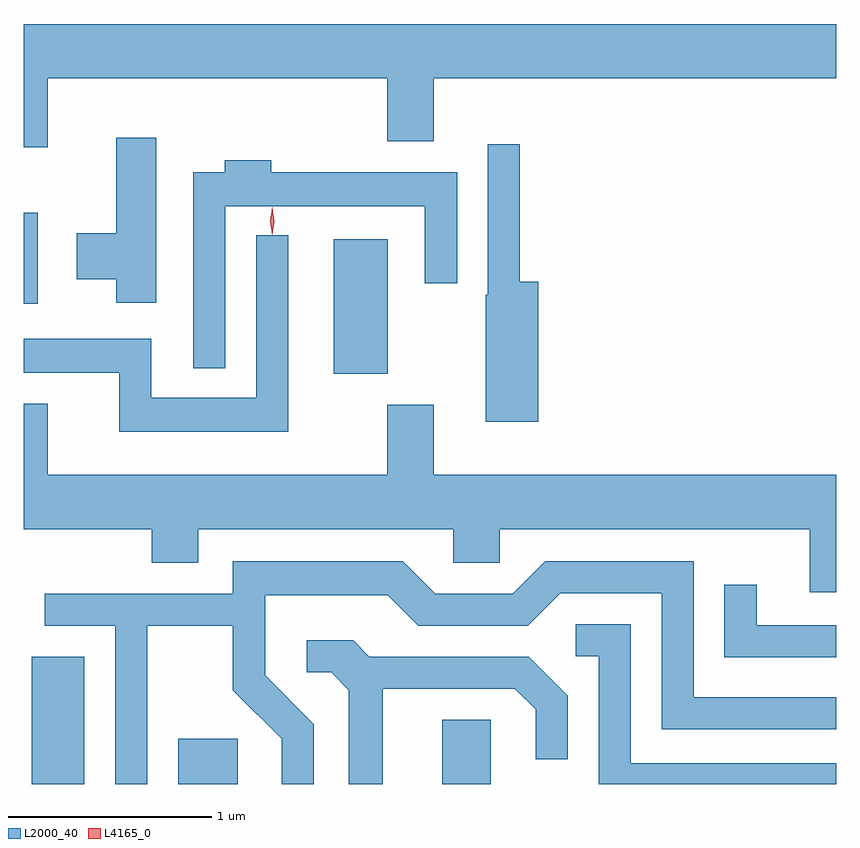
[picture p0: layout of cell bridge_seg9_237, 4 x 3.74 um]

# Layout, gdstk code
import gdstk
lib = gdstk.Library(unit=1e-6, precision=1e-09)
def R(c, l, rs):  # rectangles x0, y0, x1, y1
    for r in rs: c.add(gdstk.rectangle(r[:2], r[2:], *l))
def P(c, l, *ps):  # polygons
    for p in ps: c.add(gdstk.Polygon(p, *l))
L2000_40 = (2000, 40)
L4165_0 = (4165, 0)

bridge_seg9_237 = lib.new_cell('bridge_seg9_237')
R(bridge_seg9_237, L2000_40, [(1468.811,1948.382,1469.069,1949.009), (1469.531,1948.382,1469.824,1948.604), (1470.831,1948.382,1471.069,1948.699), (1470.296,1950.401,1470.564,1951.064), (1468.771,1950.746,1468.839,1951.194)])
P(bridge_seg9_237, L2000_40, [(1468.889,1951.856),(1470.561,1951.856),(1470.561,1951.546),(1470.789,1951.546),(1470.789,1951.856),(1472.771,1951.856),(1472.771,1952.124),(1468.771,1952.124),(1468.771,1951.516),(1468.889,1951.516)],
  [(1469.424,1951.564),(1469.226,1951.564),(1469.226,1951.094),(1469.031,1951.094),(1469.031,1950.866),(1469.226,1950.866),(1469.226,1950.751),(1469.424,1950.751)],
  [(1471.304,1950.854),(1471.214,1950.854),(1471.214,1951.533),(1471.056,1951.533),(1471.056,1950.79),(1471.046,1950.79),(1471.046,1950.166),(1471.304,1950.166)],
  [(1469.764,1951.226),(1470.746,1951.226),(1470.746,1950.848),(1470.904,1950.848),(1470.904,1951.394),(1469.989,1951.394),(1469.989,1951.454),(1469.761,1951.454),(1469.761,1951.394),(1469.606,1951.394),(1469.606,1950.428),(1469.764,1950.428)],
  [(1470.074,1951.083),(1469.916,1951.083),(1469.916,1950.284),(1469.399,1950.284),(1469.399,1950.574),(1468.771,1950.574),(1468.771,1950.406),(1469.241,1950.406),(1469.241,1950.116),(1470.074,1950.116)],
  [(1472.771,1949.904),(1470.789,1949.904),(1470.789,1950.249),(1470.561,1950.249),(1470.561,1949.904),(1468.889,1949.904),(1468.889,1950.254),(1468.771,1950.254),(1468.771,1949.636),(1469.401,1949.636),(1469.401,1949.471),(1469.629,1949.471),(1469.629,1949.636),(1470.886,1949.636),(1470.886,1949.471),(1471.114,1949.471),(1471.114,1949.636),(1472.641,1949.636),(1472.641,1949.326),(1472.771,1949.326)],
  [(1469.379,1949.161),(1469.801,1949.161),(1469.801,1948.844),(1470.041,1948.604),(1470.041,1948.382),(1470.199,1948.382),(1470.199,1948.677),(1469.959,1948.917),(1469.959,1949.311),(1470.564,1949.311),(1470.714,1949.161),(1471.252,1949.161),(1471.412,1949.321),(1471.911,1949.321),(1471.911,1948.651),(1472.771,1948.651),(1472.771,1948.809),(1472.069,1948.809),(1472.069,1949.479),(1471.339,1949.479),(1471.179,1949.319),(1470.797,1949.319),(1470.637,1949.479),(1469.801,1949.479),(1469.801,1949.319),(1468.873,1949.319),(1468.873,1949.161),(1469.221,1949.161),(1469.221,1948.382),(1469.379,1948.382)],
  [(1472.771,1949.164),(1472.379,1949.164),(1472.379,1949.363),(1472.221,1949.363),(1472.221,1949.006),(1472.771,1949.006)],
  [(1472.771,1948.484),(1471.759,1948.484),(1471.759,1949.169),(1471.488,1949.169),(1471.488,1949.011),(1471.601,1949.011),(1471.601,1948.382),(1472.771,1948.382)],
  [(1470.539,1948.851),(1471.189,1948.851),(1471.291,1948.749),(1471.291,1948.503),(1471.449,1948.503),(1471.449,1948.817),(1471.257,1949.009),(1470.472,1949.009),(1470.392,1949.089),(1470.163,1949.089),(1470.163,1948.931),(1470.284,1948.931),(1470.371,1948.844),(1470.371,1948.382),(1470.539,1948.382)])
P(bridge_seg9_237, L4165_0, [(1469.994,1951.087),(1469.994,1951.087),(1469.984,1951.154),(1469.994,1951.22),(1469.994,1951.221),(1469.995,1951.22),(1470.004,1951.154),(1469.995,1951.087)])

lib.write_gds('bridge_seg9_237.gds')
